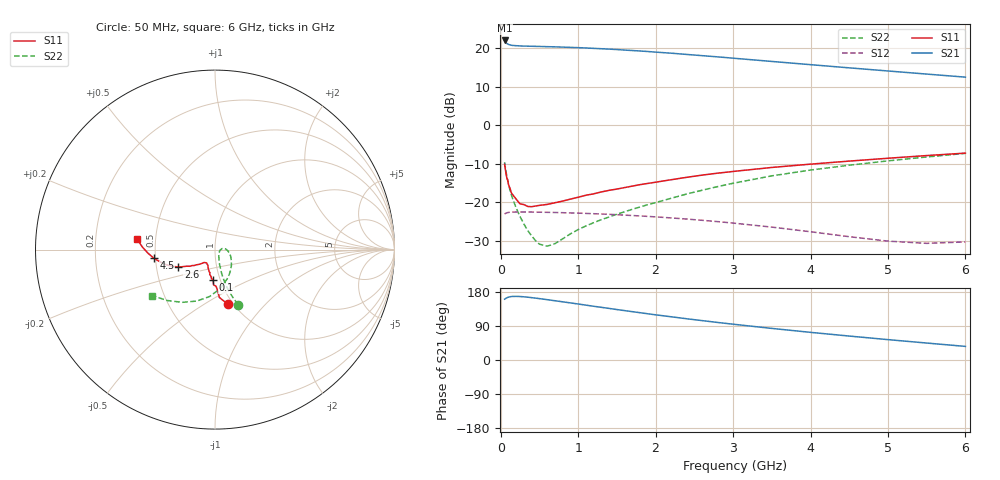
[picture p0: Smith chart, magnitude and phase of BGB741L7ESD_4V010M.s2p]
! (c) 2009  Infineon Technologies AG, Munich
!  Infineon Technologies AG
!  BGB741L7ESD
!  Vce = 4.0V, Ic = 10.0mA
!  DATUM: 30.06.2009 10:10:03
# GHz  S  MA  R  50
!f  S11  S21  S12  S22
!GHz  Mag  Ang  Mag  Ang  Mag  Ang  Mag  Ang
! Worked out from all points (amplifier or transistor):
!   44 points, 50 MHz to 6 GHz, reference 50 ohm
!   highest |S21| = 22.0 dB at 50 MHz (marker M1)
!   |S21| within 3 dB of that: start of sweep to 1.983 GHz
!   unconditionally stable (mu >= 1): 196.3 MHz to end of sweep
!   at 120 MHz: K = 0.97, MSG = 21.7 dB, |S12| = -22.5 dB
!   at 1 GHz: K = 1.03, MAG = 20.3 dB, |S12| = -22.8 dB
!   at 6 GHz: K = 2.44, MAG = 14.7 dB, |S12| = -30.3 dB
!   lowest NFmin = 0.98 dB at 450 MHz
!   S11 on the Smith chart (normalised r, x): 50 MHz: 0.94, -0.64; 100 MHz: 0.93, -0.32; 2.6 GHz: 0.65, -0.13; 4.5 GHz: 0.49, -0.05; 6 GHz: 0.39, +0.06
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0.05  0.3127 -76.8  12.65 160.5  0.07041 19.8  0.3329 -67.2
0.07  0.2309 -86.1  11.77 163.2  0.07269 14.2  0.2448 -71.4
0.1  0.1707 -93.4  11.22 165.8  0.07413 9.6  0.1727 -73.8
0.15  0.128 -104.5  10.92 167.7  0.07485 5.7  0.1143 -74.1
0.2  0.11 -110.3  10.81 167.9  0.07507 3.5  0.08422 -72.7
0.3  0.09376 -117.2  10.69 166.8  0.07516 0.9  0.05235 -65.3
0.45  0.0899 -126.0  10.6 163.3  0.0748 -1.6  0.03191 -46.4
0.6  0.09426 -130.4  10.5 159.2  0.07437 -3.5  0.02706 -19.1
0.8  0.1042 -133.0  10.37 153.5  0.07358 -5.6  0.03373 2.7
1.1  0.1239 -138.1  10.1 144.8  0.07202 -8.3  0.04953 8.7
1.4  0.1436 -142.2  9.766 136.1  0.07006 -10.7  0.06479 -1.0
1.6  0.1559 -145.2  9.49 130.3  0.06844 -12.2  0.07563 -8.9
1.9  0.1765 -148.4  9.091 121.9  0.06586 -14.2  0.09361 -22.1
2.2  0.1971 -151.4  8.648 114.1  0.06297 -16.0  0.1132 -36.1
2.6  0.2262 -154.5  8.031 104.0  0.05863 -17.8  0.1439 -52.9
3  0.2523 -158.1  7.449 94.5  0.05396 -18.9  0.1772 -67.7
3.5  0.2844 -162.7  6.758 83.4  0.04784 -19.2  0.2213 -83.2
4  0.314 -167.5  6.138 73.0  0.04164 -17.3  0.2631 -96.6
4.5  0.3439 -172.0  5.579 63.2  0.03592 -12.5  0.3041 -109.5
5  0.3744 -177.0  5.082 53.8  0.03147 -3.7  0.3461 -121.9
5.5  0.4057 177.8  4.632 44.7  0.02944 9.2  0.389 -133.2
6  0.4365 172.5  4.225 35.9  0.0307 23.0  0.4332 -143.7
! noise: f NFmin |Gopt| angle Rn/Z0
0.45  0.98  0.04  152  0.13
0.9  1  0.06  126  0.13
1.8  1.04  0.08  120  0.22
2.4  1.07  0.1  119  0.29
3  1.12  0.12  135  0.2
5.5  1.75  0.17  172  0.16
